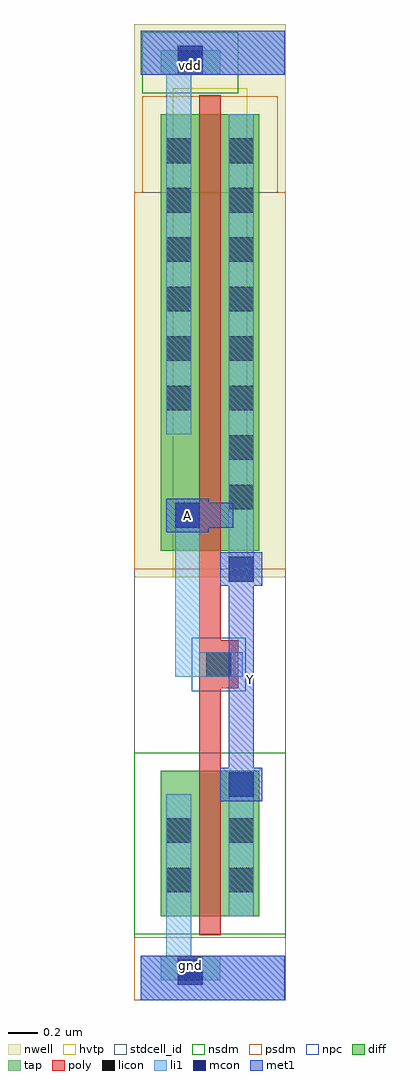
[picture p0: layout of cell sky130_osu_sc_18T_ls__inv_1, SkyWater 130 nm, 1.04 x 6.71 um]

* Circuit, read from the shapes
.subckt sky130_osu_sc_18T_ls__inv_1 A Y gnd vdd
XM1 Y A gnd gnd sky130_fd_pr__nfet_01v8 w=1 l=0.15
XM2 Y A vdd vdd sky130_fd_pr__pfet_01v8_hvt w=3 l=0.15
.ends

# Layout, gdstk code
import gdstk
lib = gdstk.Library(unit=1e-6, precision=1e-09)
def R(c, l, rs):  # rectangles x0, y0, x1, y1
    for r in rs: c.add(gdstk.rectangle(r[:2], r[2:], *l))
def A(c, l, x, y, w, h, nx, ny, dx, dy):  # array of equal rectangles
    R(c, l, [(x+i*dx, y+j*dy, x+i*dx+w, y+j*dy+h) for i in range(nx) for j in range(ny)])
nwell = (64, 20)
diff = (65, 20)
tap = (65, 44)
poly = (66, 20)
licon = (66, 44)
li1 = (67, 20)
mcon = (67, 44)
met1 = (68, 20)
hvtp = (78, 44)
stdcell_id = (81, 4)
nsdm = (93, 44)
psdm = (94, 20)
npc = (95, 20)

sky130_osu_sc_18t_ls__in = lib.new_cell('sky130_osu_sc_18T_ls__inv_1')
R(sky130_osu_sc_18t_ls__in, nwell, [(-0.045,2.905,0.995,6.705)])
R(sky130_osu_sc_18t_ls__in, diff, [(0.135,0.575,0.815,1.575), (0.135,3.085,0.815,6.085)])
R(sky130_osu_sc_18t_ls__in, tap, [(0.135,0.135,0.545,0.305), (0.135,6.355,0.545,6.525)])
R(sky130_osu_sc_18t_ls__in, poly, [(0.4,0.445,0.55,2.14), (0.4,2.14,0.67,2.47), (0.4,2.47,0.55,6.215)])
A(sky130_osu_sc_18t_ls__in, licon, 0.605, 3.37, 0.17, 0.17, 1, 8, 0, 0.34)
A(sky130_osu_sc_18t_ls__in, licon, 0.175, 4.05, 0.17, 0.17, 1, 6, 0, 0.34)
R(sky130_osu_sc_18t_ls__in, licon, [(0.255,0.135,0.425,0.305), (0.175,0.74,0.345,0.91), (0.605,0.74,0.775,0.91), (0.175,1.08,0.345,1.25), (0.605,1.08,0.775,1.25), (0.45,2.22,0.62,2.39), (0.255,6.355,0.425,6.525)])
R(sky130_osu_sc_18t_ls__in, li1, [(0,0,0.99,0.305), (0.175,0.305,0.345,1.415), (0.605,0.575,0.775,1.565), (0.235,2.22,0.7,2.39), (0.235,2.39,0.405,3.415), (0.605,2.875,0.775,6.085), (0.175,3.885,0.345,6.355), (0,6.355,0.99,6.66)])
R(sky130_osu_sc_18t_ls__in, mcon, [(0.255,0.105,0.425,0.275), (0.605,1.395,0.775,1.565), (0.605,2.875,0.775,3.045), (0.235,3.245,0.405,3.415), (0.255,6.385,0.425,6.555)])
R(sky130_osu_sc_18t_ls__in, met1, [(0,0,0.99,0.305), (0.545,1.365,0.835,1.595), (0.605,1.595,0.775,2.845), (0.545,2.845,0.835,3.075), (0.175,3.215,0.465,3.245), (0.175,3.245,0.635,3.415), (0.175,3.415,0.465,3.445), (0,6.355,0.99,6.66)])
R(sky130_osu_sc_18t_ls__in, hvtp, [(0.22,2.905,0.73,6.265)])
R(sky130_osu_sc_18t_ls__in, stdcell_id, [(-0.045,0,0.995,5.55)])
R(sky130_osu_sc_18t_ls__in, nsdm, [(-0.045,0.45,0.995,1.7), (0.01,6.23,0.67,6.65)])
R(sky130_osu_sc_18t_ls__in, psdm, [(-0.045,0,0.995,0.43), (-0.045,2.96,0.995,5.55), (0.01,5.55,0.94,6.21)])
R(sky130_osu_sc_18t_ls__in, npc, [(0.35,2.12,0.72,2.49)])
sky130_osu_sc_18t_ls__in.add(gdstk.Label('gnd', (0.34,0.24), layer=68, texttype=16))
sky130_osu_sc_18t_ls__in.add(gdstk.Label('vdd', (0.34,6.42), layer=68, texttype=16))
sky130_osu_sc_18t_ls__in.add(gdstk.Label('Y', (0.755,2.205), layer=68, texttype=5))
sky130_osu_sc_18t_ls__in.add(gdstk.Label('A', (0.32,3.33), layer=68, texttype=5))

lib.write_gds('sky130_osu_sc_18T_ls__inv_1.gds')
